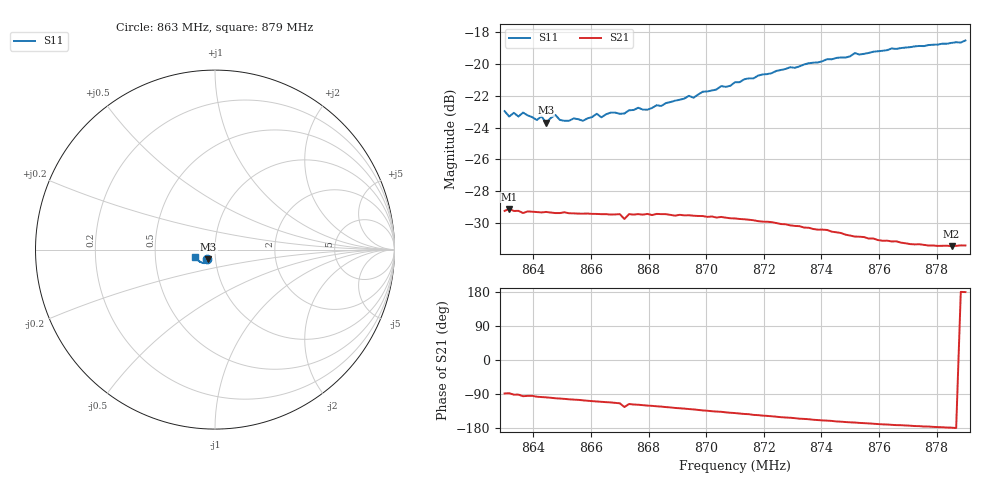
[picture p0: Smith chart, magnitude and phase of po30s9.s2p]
# HZ S RI R 50
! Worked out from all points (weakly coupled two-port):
!   101 points, 863 MHz to 879 MHz, reference 50 ohm
!   highest |S21| = -29.11 dB at 863.16 MHz (marker M1); lowest = -31.4 dB at 878.52 MHz (marker M2)
!   lowest |S11| = -23.7 dB at 864.44 MHz (marker M3), VSWR 1.14, Z = 46.1 - j4.96 ohm
!   |S11| at or under -10 dB: start of sweep to end of sweep
!   S12 and S22 are empty: the file has one direction only
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8.63e8  -0.0449 -0.0551  0.00108 -0.0345  0 0  0 0
8.6316e8  -0.0419 -0.054  0.00147 -0.035  0 0  0 0
8.6348e8  -0.0416 -0.0542  -0.000824 -0.0345  0 0  0 0
8.6364e8  -0.044 -0.0548  -0.00327 -0.0339  0 0  0 0
8.6412e8  -0.04 -0.0533  -0.00414 -0.034  0 0  0 0
8.6428e8  -0.0397 -0.0557  -0.00463 -0.0338  0 0  0 0
8.6444e8  -0.0375 -0.0535  -0.0051 -0.0339  0 0  0 0
8.6476e8  -0.0413 -0.0555  -0.00647 -0.0334  0 0  0 0
8.6492e8  -0.0385 -0.0545  -0.00692 -0.0333  0 0  0 0
8.6572e8  -0.034 -0.0568  -0.00958 -0.0325  0 0  0 0
8.662e8  -0.0379 -0.0585  -0.0113 -0.0319  0 0  0 0
8.6636e8  -0.0355 -0.0579  -0.0117 -0.0316  0 0  0 0
8.6668e8  -0.0372 -0.0596  -0.0126 -0.0312  0 0  0 0
8.67e8  -0.0359 -0.0597  -0.0139 -0.0307  0 0  0 0
8.6716e8  -0.0352 -0.0603  -0.0183 -0.027  0 0  0 0
8.6732e8  -0.0361 -0.0617  -0.0149 -0.0303  0 0  0 0
8.6844e8  -0.0367 -0.064  -0.0184 -0.0283  0 0  0 0
8.71e8  -0.0477 -0.0734  -0.0251 -0.021  0 0  0 0
8.7372e8  -0.068 -0.0744  -0.028 -0.0115  0 0  0 0
8.7644e8  -0.0932 -0.0616  -0.0274 -0.00429  0 0  0 0
8.7852e8  -0.1076 -0.0443  -0.0268 -0.000696  0 0  0 0
8.79e8  -0.1117 -0.0392  -0.0269 0.000358  0 0  0 0
